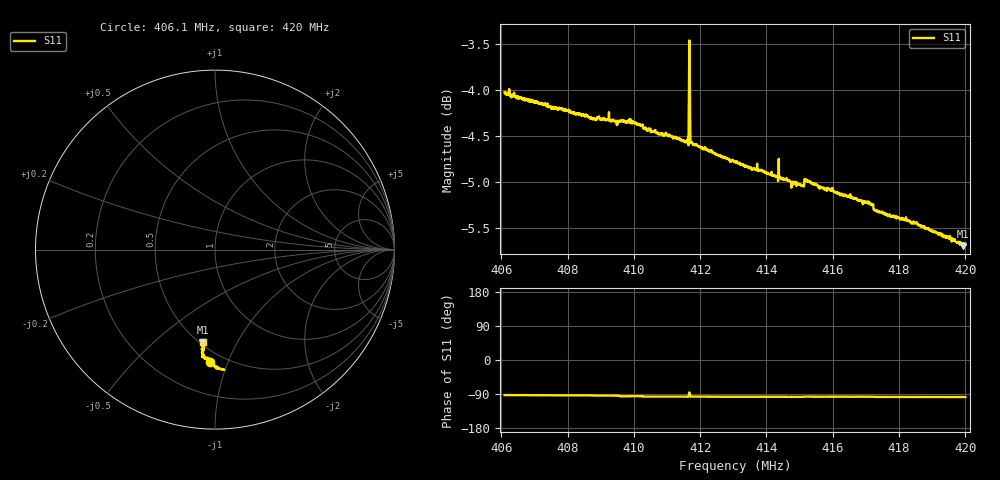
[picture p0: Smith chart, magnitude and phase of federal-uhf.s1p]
! Calibrated averaged scanner-service zoom
# Hz S RI R 50
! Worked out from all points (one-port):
!   2001 points, 406.1 MHz to 420 MHz, reference 50 ohm
!   lowest |S11| = -5.7 dB at 419.94 MHz (marker M1), VSWR 3.16, Z = 25.9 - j36.5 ohm
!   |S11| at or under -10 dB: nowhere
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4.061e8  -0.0285 -0.6287
4.078375e8  -0.0342 -0.6155
4.09429e8  -0.0446 -0.6055
4.095055e8  -0.0422 -0.6034
4.09575e8  -0.0466 -0.6049
4.096514e8  -0.0618 -0.6042
4.100337e8  -0.0567 -0.6031
4.102005e8  -0.0596 -0.6014
4.103464e8  -0.0677 -0.5982
4.113125e8  -0.0674 -0.5904
4.115766e8  -0.0686 -0.5873
4.115905e8  -0.0685 -0.5872
4.116252e8  -0.0692 -0.5888
4.117226e8  -0.0674 -0.587
4.117364e8  -0.0665 -0.5876
4.117642e8  -0.0664 -0.587
4.117782e8  -0.067 -0.5861
4.1305e8  -0.0702 -0.5732
4.147875e8  -0.07 -0.5581
4.150655e8  -0.0706 -0.556
4.152114e8  -0.0649 -0.5598
4.157258e8  -0.0677 -0.5546
4.16525e8  -0.0638 -0.5503
4.171505e8  -0.0661 -0.5432
4.173173e8  -0.0699 -0.5379
4.182625e8  -0.0698 -0.5315
4.199374e8  -0.0698 -0.5145
4.2e8  -0.0696 -0.5154
